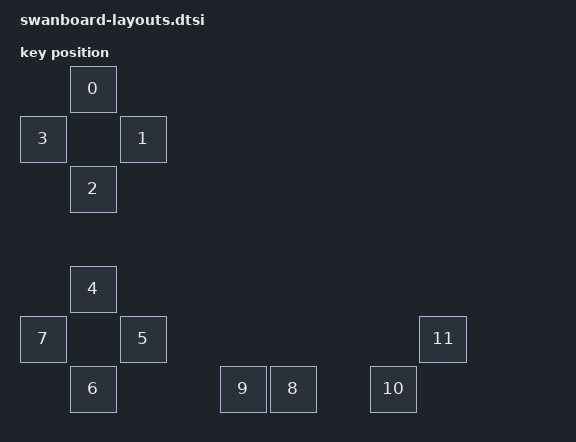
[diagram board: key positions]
// See https://zmk.dev/docs/development/hardware-integration/physical-layouts
// for how to configure this.

#include <physical_layouts.dtsi>

/ {
    default_layout: default_layout {
        compatible = "zmk,physical-layout";
        display-name = "Default Layout";
        transform = <&default_transform>;
        kscan = <&kscan>;

        keys  //                     w   h     x    y     rot    rx    ry
            = <&key_physical_attrs 100 100   100    0       0     0     0>
            , <&key_physical_attrs 100 100   200  100       0     0     0>
            , <&key_physical_attrs 100 100   100  200       0     0     0>
            , <&key_physical_attrs 100 100     0  100       0     0     0>
            , <&key_physical_attrs 100 100   100  400       0     0     0>
            , <&key_physical_attrs 100 100   200  500       0     0     0>
            , <&key_physical_attrs 100 100   100  600       0     0     0>
            , <&key_physical_attrs 100 100     0  500       0     0     0>
            , <&key_physical_attrs 100 100   500  600       0     0     0>
            , <&key_physical_attrs 100 100   400  600       0     0     0>
            , <&key_physical_attrs 100 100   700  600       0     0     0>
            , <&key_physical_attrs 100 100   800  500       0     0     0>
            ;
    };
};
